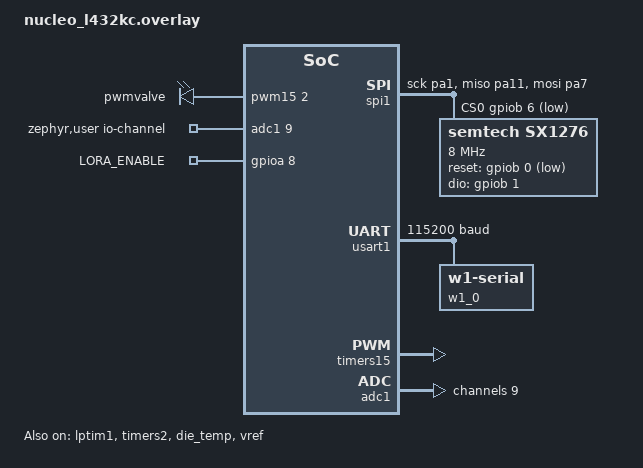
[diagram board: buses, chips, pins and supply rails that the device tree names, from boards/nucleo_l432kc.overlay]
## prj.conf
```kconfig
CONFIG_LOG=n
CONFIG_LORA=y
CONFIG_PRINTK=y

CONFIG_NO_OPTIMIZATIONS=y

CONFIG_LOG_MODE_IMMEDIATE=y


CONFIG_MAIN_STACK_SIZE=4096
CONFIG_SYSTEM_WORKQUEUE_STACK_SIZE=2048
```

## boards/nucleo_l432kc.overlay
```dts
// DO NOT FORGET TO REMOVE SB9 JUMPER ON THE NUCLEO BOARD

&spi1 {
    status = "okay";
    cs-gpios = <&gpiob 6 GPIO_ACTIVE_LOW>; 
    pinctrl-0 = < &spi1_sck_pa1 &spi1_miso_pa11 &spi1_mosi_pa7 >;
    lora0: sx1276@0 {
        compatible = "semtech,sx1276";
        reg = <0>;
        label = "SX1276";
        spi-max-frequency = <DT_FREQ_M(8)>;
        status = "okay";
        reset-gpios = <&gpiob 0 GPIO_ACTIVE_LOW>;  
        dio-gpios = <&gpiob 1 (GPIO_PULL_DOWN | GPIO_ACTIVE_HIGH)>;
                    //<&gpiob 0 (GPIO_PULL_DOWN | GPIO_ACTIVE_HIGH)>,
                    //<&gpioa 12 (GPIO_PULL_DOWN | GPIO_ACTIVE_HIGH)>;
        power-amplifier-output = "pa-boost";
        //dio3-tcxo-voltage = <SX126X_DIO3_TCXO_1V8>;
    };
};


&usart1_tx_pa9 {
	drive-open-drain;
	bias-pull-up;
    slew-rate = "very-high-speed";
};

&can1 {
    status = "disabled";
};

&i2c1 {
    status = "disabled";
};


&lptim1 {
    status = "okay";
};


&usart1 {
    status = "okay";
    single-wire;
    current-speed = <115200>;
    w1_0: w1-zephyr-serial-0 {
		compatible = "zephyr,w1-serial";
		#address-cells = <1>;
		#size-cells = <0>;
		status = "okay";

		ds18b20-0 {
            label = "SENSOR_DS18B20_0";
            compatible = "maxim,ds18b20";
            family-code = <0x28>;
            resolution = <12>;
            status = "okay";
        };
        /* 
        ds18b20-1 {
            label = "SENSOR_DS18B20_1";
            compatible = "maxim,ds18b20";
            family-code = <0x28>;
            resolution = <12>;
            status = "okay";
        };
        */
	};
};

&rtc {
    status = "disabled";
    //clocks = <&rcc STM32_CLOCK(APB1, 10U)>;
    //wakeup-source;
};

&timers6{
    status = "disabled";
};

&timers2{
    status = "okay";
    st,prescaler = <7999>;// will count with ticks of 0.1ms
    counter2: counter{
        compatible = "st,stm32-counter";
        status = "okay";
    };
};

&timers15{
    st,prescaler = <79>;
    status = "okay";
    pwm15: pwm{
        compatible = "st,stm32-pwm";
        status = "okay";
        pinctrl-0 = <&tim15_ch2_pa3>;
        pinctrl-names = "default";
    };
};

&die_temp{
    status = "okay";
};

&adc1{
    status = "okay";
    st,adc-clock-source = "SYNC";
    st,adc-prescaler = < 4 >;
    #address-cells = <1>;
	#size-cells = <0>;
    vref-mv = <3300>;
    channel@9{
        reg = <9>;
        zephyr,gain = "ADC_GAIN_1";
		zephyr,reference = "ADC_REF_INTERNAL";
		zephyr,acquisition-time = <ADC_ACQ_TIME_DEFAULT>;
		zephyr,resolution = <12>;
        //zephyr,oversampling = <8>;
    };
};

&vref {
    status = "okay";
};

/ {
    pwmleds: pwmleds{
        compatible = "pwm-leds";
        status = "okay";
        pwmvalve: tim15_ch2n_pwm{
            pwms = <&pwm15 2 PWM_MSEC(2) PWM_POLARITY_NORMAL>;
        };
    };
    aliases {
        lora0 = &lora0;
        rtc0 = &rtc;
        lora-en-pin = &lora_en;
        //lora-reset-pin = &lora_reset;
    };

    chosen{
        zephyr,rtc = &rtc;

        //zephyr,cortex-m-idle-timer = &rtc;
    };

    zephyr,user{
        io-channels = <&adc1 9>;
    };

    leds{
        compatible = "gpio-leds";
        status = "okay";

        lora_en: lora-en{
            gpios = <&gpioa 8 GPIO_ACTIVE_HIGH>;
            label = "LORA_ENABLE";
        };
        //lora_reset: lora-reset{
        //    gpios = <&gpioa 8 GPIO_ACTIVE_HIGH>;
        //    label = "LORA_RESET";
        //};
    };

};
```

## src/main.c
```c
/*
 * Copyright (c) 2019 Manivannan Sadhasivam
 *
 * SPDX-License-Identifier: Apache-2.0
 */

#include <zephyr/device.h>
#include <zephyr/drivers/lora.h>
#include <zephyr/drivers/gpio.h>
#include <errno.h>
#include <zephyr/sys/util.h>
#include <zephyr/sys/byteorder.h>
#include <zephyr/kernel.h>
#include <zephyr/toolchain.h>
#include <zephyr/sys/reboot.h>

//#include <cmsis_core.h>

#define LORA_NODE DT_ALIAS(lora0)


#define MAX_DATA_LEN 255

#define LOG_LEVEL CONFIG_LOG_DEFAULT_LEVEL
#include <zephyr/logging/log.h>
LOG_MODULE_REGISTER(lora_receive);


#define LORA_EN_NODE DT_ALIAS(lora_en_pin)
static const struct gpio_dt_spec lora_en = GPIO_DT_SPEC_GET(LORA_EN_NODE, gpios);

// LORA RESET PIN
//#define LORA_RESET_NODE DT_ALIAS(lora_reset_pin)
//static const struct gpio_dt_spec lora_reset = GPIO_DT_SPEC_GET(LORA_RESET_NODE, gpios);

int main(void)
{
	gpio_pin_configure_dt(&lora_en, GPIO_OUTPUT_ACTIVE);
	gpio_pin_set_dt(&lora_en, 1);
	k_msleep(2000);

	const struct device *const lora_dev = DEVICE_DT_GET(LORA_NODE);
	struct lora_modem_config config;
	int ret, len;
	uint8_t data[24] = {0};
	int16_t rssi;
	int8_t snr;

	if (!device_is_ready(lora_dev)) {
		LOG_ERR("%s Device not ready", lora_dev->name);
		return 0;
	}


	

	while(1){
		gpio_pin_set_dt(&lora_en, 1);
		k_msleep(2000);

		config.frequency = 433000000;
		config.bandwidth = BW_125_KHZ;
		config.datarate = SF_10;
		config.preamble_len = 8;
		config.coding_rate = CR_4_5;
		config.iq_inverted = false;
		config.public_network = false; // false is 0x12, true is 0x34
		config.tx_power = 14;
		config.tx = false;

		ret = lora_config(lora_dev, &config);
		if (ret < 0) {
			LOG_ERR("LoRa config failed");
			return 0;
		}

		k_msleep(500);
		
		/* Block until data arrives */
		len = -1;
		while(len < 0){
			len = lora_recv(lora_dev, data, 24, K_FOREVER,
					&rssi, &snr);
		}
		
		if (len > 0) {
			//printk("LoRa receive successful\n");
		}


		const uint8_t *p = data;

		uint32_t battery_voltage_mv   = sys_get_le32(&p[0]);
		uint32_t tank_temp_top_mcelsius   = sys_get_le32(&p[4]);
		uint32_t tank_temp_start_mcelsius = sys_get_le32(&p[8]);
		uint32_t tank_temp_bottom_mcelsius   = sys_get_le32(&p[12]);
		uint32_t tank_temp_end_mcelsius   = sys_get_le32(&p[16]);
		uint32_t die_temp_mcelsius = sys_get_le32(&p[20]);
		

		printf("%u %u %u %u %u %u\n",
			battery_voltage_mv, tank_temp_top_mcelsius, tank_temp_start_mcelsius, tank_temp_bottom_mcelsius, tank_temp_end_mcelsius, die_temp_mcelsius);
		//printf("%u ", v_battery);
		//printf("%u ", temperature_die);
		//printf("%u ", tank_temperature_start);
		//printf("%u ", loop_counter);
		//printf("%u ", tank_temperature_end);
		//printf("%u ", tank_temperature_bottom);
		//printf("%u\n", tank_temperature_top);
		//LOG_INF("LoRa RX RSSI: %d dBm, SNR: %d dB", rssi, snr);
		//LOG_HEXDUMP_INF(data, len, "LoRa RX payload");
		
		gpio_pin_set_dt(&lora_en, 0);
		//k_msleep(1000*4*60 + 1000*30);
		k_msleep(1000*2*60);


		/*
		// Reset LoRa Module
		gpio_pin_set_dt(&lora_reset, 0);
		k_msleep(100);
		gpio_pin_set_dt(&lora_reset, 1);
		k_msleep(100);
		*/
		
	}

	return 0;
}
```
